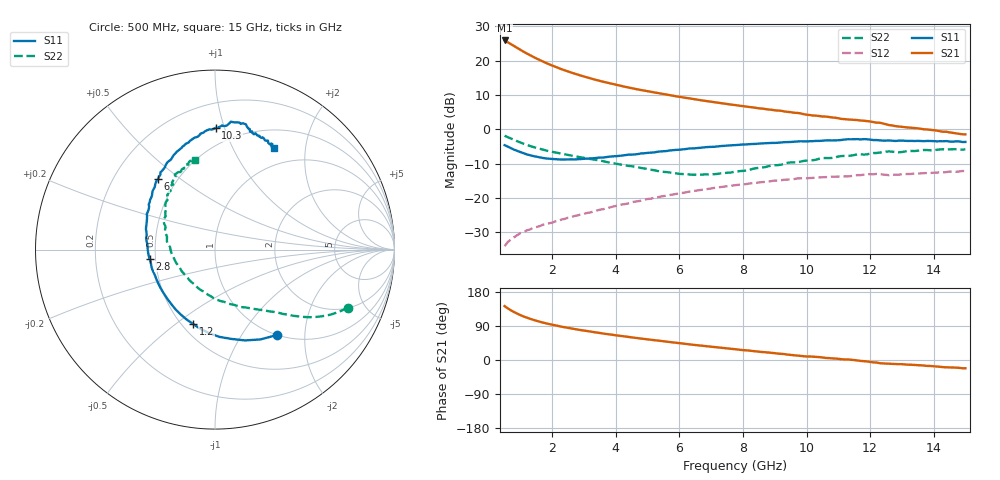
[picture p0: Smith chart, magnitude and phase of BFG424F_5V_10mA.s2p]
! Filename BFG424F_5V_10mA.prm
! Simulation_Values
! Created	by	janssen	on	nov	2006
!	Column ranking S11, S21,S12,S22 both magnitude and phase.
!	VCE	=	5	V,	IC	=	10	mA
!	Common	Emitter	S-Parameters
#	GHZ	S	MA	R	50
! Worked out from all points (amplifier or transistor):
!   146 points, 500 MHz to 15 GHz, reference 50 ohm
!   highest |S21| = 25.9 dB at 500 MHz (marker M1)
!   |S21| within 3 dB of that: start of sweep to 1.049 GHz
!   unconditionally stable (mu >= 1): 2.391 GHz to end of sweep
!   at 2.9 GHz: K = 1.07, MAG = 18.5 dB, |S12| = -24.7 dB
!   at 7.8 GHz: K = 1.17, MAG = 9.1 dB, |S12| = -16.2 dB
!   at 15 GHz: K = 1.44, MAG = 1.4 dB, |S12| = -12.1 dB
!   S11 on the Smith chart (normalised r, x): 500 MHz: 1.00, -1.45; 1.2 GHz: 0.57, -0.58; 2.8 GHz: 0.46, -0.05; 6 GHz: 0.39, +0.42; 10.3 GHz: 0.37, +0.94; 15 GHz: 0.73, +1.47
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0.5  0.588 -54.0  19.64 142.1  0.02 60.9  0.807 -23.7
0.6  0.561 -63.1  18.49 136.3  0.023 58.4  0.77 -26.9
0.7  0.533 -71.7  17.36 131.0  0.025 57.7  0.735 -29.7
0.8  0.506 -79.6  16.27 126.3  0.027 56.2  0.702 -31.9
0.9  0.487 -87.0  15.27 122.2  0.029 55.6  0.671 -34.1
1  0.467 -93.9  14.33 118.3  0.031 54.7  0.643 -35.8
1.2  0.432 -106.5  12.68 111.7  0.034 54.2  0.594 -38.8
1.4  0.409 -117.8  11.33 106.0  0.037 54.4  0.554 -41.2
1.5  0.4 -122.9  10.75 103.5  0.038 54.4  0.538 -42.2
1.8  0.378 -137.1  9.256 96.8  0.042 55.2  0.494 -45.4
2.2  0.366 -152.8  7.785 89.4  0.047 56.8  0.451 -49.3
2.8  0.368 -172.1  6.249 80.2  0.056 59.2  0.4 -55.9
3  0.373 -177.3  5.861 77.5  0.059 59.9  0.385 -58.4
3.5  0.389 170.3  5.058 71.2  0.068 60.8  0.352 -65.5
4.1  0.411 157.8  4.347 64.2  0.079 61.3  0.312 -75.4
5.4  0.477 136.8  3.32 50.2  0.105 59.5  0.243 -103.7
6  0.506 128.9  2.98 44.4  0.118 58.0  0.225 -121.2
7.8  0.592 109.4  2.242 28.1  0.155 51.2  0.243 -175.3
10.2  0.674 90.2  1.59 8.7  0.197 39.1  0.356 139.5
10.3  0.679 89.6  1.583 8.1  0.198 39.0  0.362 139.1
12.6  0.69 72.6  1.153 -9.9  0.215 27.7  0.478 115.4
15  0.656 60.0  0.846 -21.8  0.247 19.1  0.512 102.7
